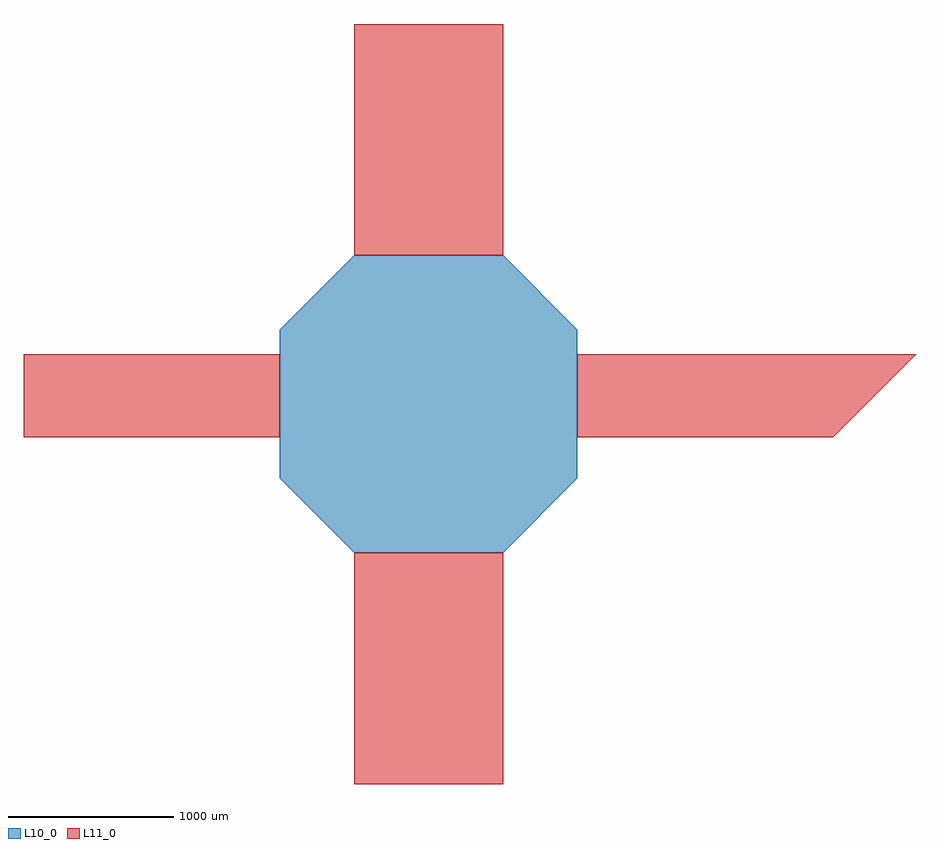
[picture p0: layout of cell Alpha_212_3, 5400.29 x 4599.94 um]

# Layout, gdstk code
import gdstk
lib = gdstk.Library(unit=1e-6, precision=1e-09)
def R(c, l, rs):  # rectangles x0, y0, x1, y1
    for r in rs: c.add(gdstk.rectangle(r[:2], r[2:], *l))
def P(c, l, *ps):  # polygons
    for p in ps: c.add(gdstk.Polygon(p, *l))
L10_0 = (10, 0)
L11_0 = (11, 0)

alpha_212_3 = lib.new_cell('Alpha_212_3')
P(alpha_212_3, L10_0, [(0,0),(899.922,0),(1350.01,-450.088),(1350.01,-1350.01),(899.922,-1800.098),(0,-1800.098),(-450.088,-1350.01),(-450.088,-450.088)],
  [(1297.432,-816.61),(1284.986,-733.806),(1264.92,-652.78),(1236.726,-574.04),(1200.912,-498.602),(1157.986,-426.974),(1108.202,-359.918),(1052.068,-297.942),(990.092,-241.808),(923.036,-192.024),(851.408,-149.098),(775.716,-113.284),(697.23,-85.09),(616.204,-64.77),(533.4,-52.578),(450.088,-48.514),(366.522,-52.578),(283.972,-64.77),(202.946,-85.09),(124.206,-113.284),(48.514,-149.098),(-23.114,-192.024),(-90.17,-241.808),(-152.146,-297.942),(-208.28,-359.918),(-258.064,-426.974),(-300.99,-498.602),(-336.55,-574.04),(-364.744,-652.78),(-385.064,-733.806),(-397.256,-816.61),(-401.574,-899.922),(-397.256,-983.488),(-385.064,-1066.038),(-364.744,-1147.064),(-336.55,-1225.804),(-300.99,-1301.496),(-258.064,-1373.124),(-208.28,-1440.18),(-152.146,-1502.156),(-90.17,-1558.29),(-23.114,-1608.074),(48.514,-1651),(124.206,-1686.56),(202.946,-1714.754),(283.972,-1735.074),(366.522,-1747.266),(450.088,-1751.584),(533.4,-1747.266),(616.204,-1735.074),(697.23,-1714.754),(775.716,-1686.56),(851.408,-1651),(923.036,-1608.074),(990.092,-1558.29),(1052.068,-1502.156),(1108.202,-1440.18),(1157.986,-1373.124),(1200.912,-1301.496),(1236.726,-1225.804),(1264.92,-1147.064),(1284.986,-1066.038),(1297.432,-983.488),(1301.496,-899.922)])
R(alpha_212_3, L11_0, [(0,-3199.892,899.922,-1800.098), (-1999.996,-1100.074,-450.088,-599.694), (0,0,899.922,1400.048)])
P(alpha_212_3, L11_0, [(1350.01,-1100.074),(2899.918,-1100.074),(3400.298,-599.694),(1350.01,-599.694)])
alpha_212_3.add(gdstk.FlexPath([(-483.108,-1100.074),(-483.108,-599.694)], 0, ends="round", simple_path=True, layer=10, datatype=0))  # L10_0
alpha_212_3.add(gdstk.FlexPath([(0,33.02),(898.652,33.02)], 0, ends="round", simple_path=True, layer=10, datatype=0))  # L10_0
alpha_212_3.add(gdstk.FlexPath([(1383.03,-599.694),(1383.03,-1100.074)], 0, ends="round", simple_path=True, layer=10, datatype=0))  # L10_0

lib.write_gds('Alpha_212_3.gds')
